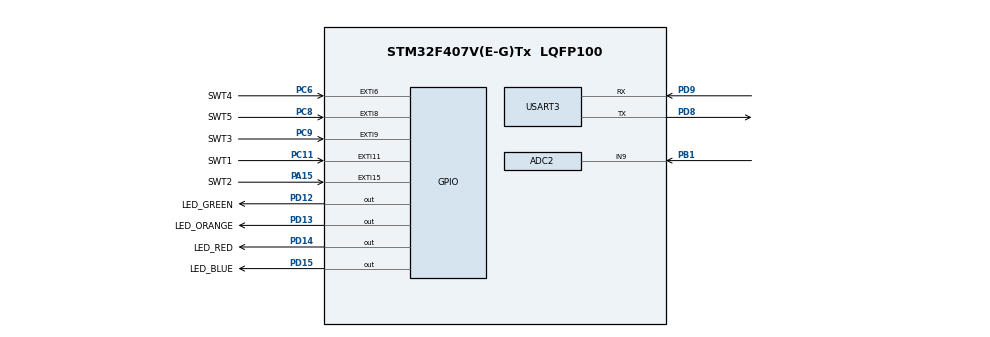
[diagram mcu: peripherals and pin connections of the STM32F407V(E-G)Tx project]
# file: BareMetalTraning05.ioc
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ADC2.Channel-0\#ChannelRegularConversion=ADC_CHANNEL_9
ADC2.ClockPrescaler=ADC_CLOCK_SYNC_PCLK_DIV8
ADC2.NbrOfConversionFlag=1
ADC2.Rank-0\#ChannelRegularConversion=1
ADC2.SamplingTime-0\#ChannelRegularConversion=ADC_SAMPLETIME_480CYCLES
ADC2.ScanConvMode=ENABLE
Mcu.Family=STM32F4
Mcu.Name=STM32F407V(E-G)Tx
Mcu.Package=LQFP100
NVIC.EXTI15_10_IRQn=true\:0\:0\:false\:false\:true\:true\:true\:true
NVIC.EXTI9_5_IRQn=true\:0\:0\:false\:false\:true\:true\:true\:true
NVIC.PriorityGroup=NVIC_PRIORITYGROUP_4
PA13.Mode=Serial_Wire
PA13.Signal=SYS_JTMS-SWDIO
PA14.Mode=Serial_Wire
PA14.Signal=SYS_JTCK-SWCLK
PA15.GPIO_Label=SWT2
PA15.Signal=GPXTI15
PB1.Signal=ADCx_IN9
PC11.GPIO_Label=SWT1
PC11.Signal=GPXTI11
PC6.GPIO_Label=SWT4
PC6.Signal=GPXTI6
PC8.GPIO_Label=SWT5
PC8.Signal=GPXTI8
PC9.GPIO_Label=SWT3
PC9.Signal=GPXTI9
PD12.GPIO_Label=LED_GREEN
PD12.Signal=GPIO_Output
PD13.GPIO_Label=LED_ORANGE
PD13.Signal=GPIO_Output
PD14.GPIO_Label=LED_RED
PD14.Signal=GPIO_Output
PD15.GPIO_Label=LED_BLUE
PD15.Signal=GPIO_Output
PD8.Mode=Asynchronous
PD8.Signal=USART3_TX
PD9.Mode=Asynchronous
PD9.Signal=USART3_RX
PH0-OSC_IN.Mode=HSE-External-Oscillator
PH0-OSC_IN.Signal=RCC_OSC_IN
PH1-OSC_OUT.Mode=HSE-External-Oscillator
PH1-OSC_OUT.Signal=RCC_OSC_OUT
ProjectManager.HeapSize=0x200
ProjectManager.StackSize=0x400
ProjectManager.TargetToolchain=STM32CubeIDE
RCC.48MHZClocksFreq_Value=24000000
RCC.AHBFreq_Value=16000000
RCC.APB1Freq_Value=16000000
RCC.APB2Freq_Value=16000000
RCC.CortexFreq_Value=16000000
RCC.HSE_VALUE=8000000
RCC.HSI_VALUE=16000000
RCC.LSE_VALUE=32768
RCC.PLLSourceVirtual=RCC_PLLSOURCE_HSE
RCC.SYSCLKFreq_VALUE=16000000
RCC.VCOOutputFreq_Value=96000000
SH.ADCx_IN9.0=ADC1_IN9
SH.ADCx_IN9.1=ADC2_IN9,IN9
USART3.VirtualMode=VM_ASYNC
board=custom

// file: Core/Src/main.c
/* USER CODE BEGIN Header */

/**
 ******************************************************************************
 * @file           : main.c
 * @brief          : Main program body
 ******************************************************************************
 * @attention
 *
 * Copyright (c) 2023 STMicroelectronics.
 * All rights reserved.
 *
 * This software is licensed under terms that can be found in the LICENSE file
 * in the root directory of this software component.
 * If no LICENSE file comes with this software, it is provided AS-IS.
 *
 ******************************************************************************
 */
/* USER CODE END Header */
#include "main.h"
#include "adc.h"
#include "usart.h"
#include "gpio.h"

/* USER CODE BEGIN Includes */
#include "button.h"
#define ADC_RANGE 4096
#define ADC_VOLT 3.3
#define ADC_STEP (ADC_RANGE/ADC_VOLT)
#define ADC_100C (0.02*ADC_STEP)
#define ADC_0C (2.02*ADC_STEP)
#define ADC_minus_24C (2.52*ADC_STEP)
#define ADC_100C_0C_coef ((ADC_0C)/100)
#define temp_corect 10 //corection temperature
#define ADC_TO_CELSIUS(adc) ((adc)<(ADC_0C))? (100+(temp_corect)-((adc)/(ADC_100C_0C_coef))):(-88)//if ADC<2.02v t=0C, and  adc=0.02v t=99C
//If the return -88 range ADC dropped below 0C
#define temp_time_every_ms 5000 //send temperature every 5s;
/* USER CODE END Includes */

/* USER CODE BEGIN PV */
#define DEBOUNCE 100 // button debounce timing
uint32_t last_time = 0;
/* USER CODE END PV */

void
SystemClock_Config (void);
/* USER CODE BEGIN PFP */
void
HAL_GPIO_EXTI_Callback (uint16_t GPIO_Pin)
{
  uint32_t time = HAL_GetTick ();

  if (time - last_time > DEBOUNCE)
    {
      _Button_reader (GPIO_Pin);
    }
  last_time = time;

}
/* USER CODE END PFP */

int
main (void)
{

  /* MCU Configuration--------------------------------------------------------*/

  /* Reset of all peripherals, Initializes the Flash interface and the Systick. */
  HAL_Init ();

  /* Configure the system clock */
  SystemClock_Config ();

  /* Initialize all configured peripherals */
  MX_GPIO_Init ();
  MX_USART3_UART_Init ();
  MX_ADC2_Init ();
  /* USER CODE BEGIN 2 */
  volatile HAL_StatusTypeDef adcPoolResult;
  uint32_t lastTick = 0, maxTick = temp_time_every_ms,      adcValue = 0;
  int8_t temp = 0;
  uint8_t tx[64];
  uint8_t rx;
  HAL_UART_Transmit (&huart3, "togle led pin use $<> 1-4 if all led $5\r\n", 41,100); /*start text*/
  /* USER CODE END 2 */

  /* Infinite loop */
  /* USER CODE BEGIN WHILE */
  while (1)
    {
/*temperature deterimine and send */
      if (HAL_GetTick () - lastTick >= maxTick)
	{

	  HAL_ADC_Start (&hadc2);
	  adcPoolResult = HAL_ADC_PollForConversion (&hadc2, 100);
	  if (adcPoolResult == HAL_OK)
	    {
	      adcValue = HAL_ADC_GetValue (&hadc2);
	    }
	  lastTick = HAL_GetTick ();
	  temp = ADC_TO_CELSIUS(adcValue);
	  sprintf (tx, "temperature=%d C\r\n", temp); //
	  HAL_UART_Transmit (&huart3, tx, strlen ((char*) tx), 100);

	}
/*read command from terminal, setup pin*/
      if (HAL_UART_Receive (&huart3, &rx, 1, 10) == HAL_OK)
	{
	  if (rx == '\r' || rx == '\n')
	    {
	    } /* If \r or \n print text */

	  else if (rx == '$'&& HAL_UART_Receive (&huart3, &rx, 1, 10) == HAL_OK) //read second byte from UART buffer
	    {
	      switch (rx)
		{
		case '1':
		  _LED_STATUS (GPIOD, LED_BLUE_Pin); //Toggle pin and print to terminal pin status
		  break;
		case '2':
		  _LED_STATUS (GPIOD, LED_ORANGE_Pin);
		  break;
		case '3':
		  _LED_STATUS (GPIOD, LED_RED_Pin);
		  break;
		case '4':
		  _LED_STATUS (GPIOD, LED_GREEN_Pin);
		  break;
		case '5':
		  _LED_STATUS (GPIOD, LED_BLUE_Pin);
		  _LED_STATUS (GPIOD, LED_ORANGE_Pin);
		  _LED_STATUS (GPIOD, LED_RED_Pin);
		  _LED_STATUS (GPIOD, LED_GREEN_Pin);
		  break;

		default:
		  HAL_UART_Transmit (&huart3, "unknown command\r\n", 2, 100);
		  HAL_UART_Transmit (
		      &huart3, "togle led pin use $<> 1-4 if all led $5\r\n", 41, 100);
		  break;
		}
	    }
	}

      /* USER CODE END WHILE */

    }
}

void
SystemClock_Config (void)
{
  RCC_OscInitTypeDef RCC_OscInitStruct =
    { 0 };
  RCC_ClkInitTypeDef RCC_ClkInitStruct =
    { 0 };

  /** Configure the main internal regulator output voltage
   */
  __HAL_RCC_PWR_CLK_ENABLE();
  __HAL_PWR_VOLTAGESCALING_CONFIG(PWR_REGULATOR_VOLTAGE_SCALE1);

  /** Initializes the RCC Oscillators according to the specified parameters
   * in the RCC_OscInitTypeDef structure.
   */
  RCC_OscInitStruct.OscillatorType = RCC_OSCILLATORTYPE_HSI;
  RCC_OscInitStruct.HSIState = RCC_HSI_ON;
  RCC_OscInitStruct.HSICalibrationValue = RCC_HSICALIBRATION_DEFAULT;
  RCC_OscInitStruct.PLL.PLLState = RCC_PLL_NONE;
  if (HAL_RCC_OscConfig (&RCC_OscInitStruct) != HAL_OK)
    {
      Error_Handler ();
    }

  /** Initializes the CPU, AHB and APB buses clocks
   */
  RCC_ClkInitStruct.ClockType = RCC_CLOCKTYPE_HCLK | RCC_CLOCKTYPE_SYSCLK
      | RCC_CLOCKTYPE_PCLK1 | RCC_CLOCKTYPE_PCLK2;
  RCC_ClkInitStruct.SYSCLKSource = RCC_SYSCLKSOURCE_HSI;
  RCC_ClkInitStruct.AHBCLKDivider = RCC_SYSCLK_DIV1;
  RCC_ClkInitStruct.APB1CLKDivider = RCC_HCLK_DIV1;
  RCC_ClkInitStruct.APB2CLKDivider = RCC_HCLK_DIV1;

  if (HAL_RCC_ClockConfig (&RCC_ClkInitStruct, FLASH_LATENCY_0) != HAL_OK)
    {
      Error_Handler ();
    }
}

void
Error_Handler (void)
{
  /* USER CODE BEGIN Error_Handler_Debug */
  /* User can add his own implementation to report the HAL error return state */
  __disable_irq ();
  while (1)
    {
    }
  /* USER CODE END Error_Handler_Debug */
}
